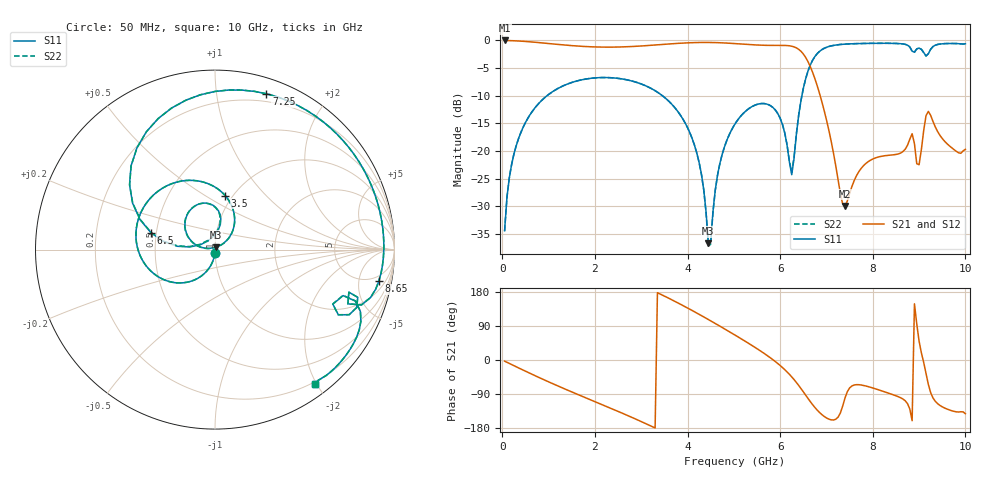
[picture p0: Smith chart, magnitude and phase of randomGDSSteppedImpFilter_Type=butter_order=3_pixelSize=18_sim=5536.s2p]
! freq	dB(S11)	phase(S11)	dB(S12)	phase(S12)
!  dB(S21)	phase(S21)	dB(S22)	phase(S22)
!S-par simulation data
#  GHz  S  DB  R 50
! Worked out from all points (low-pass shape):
!   200 points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, 50 MHz to 10 GHz, reference 50 ohm
!   highest |S21| = -0.01 dB at 50 MHz (marker M1); lowest = -29.9 dB at 7.4 GHz (marker M2)
!   |S21| within 3 dB of the highest: start of sweep to 6.546 GHz
!   lowest |S11| = -36.7 dB at 4.45 GHz (marker M3), VSWR 1.03, Z = 50.4 + j1.4 ohm
!   |S11| at or under -10 dB: start of sweep to 964.7 MHz; 3.459 GHz to 6.469 GHz (3.01 GHz wide, 60.6 % of centre)
!   |S22| runs from -37.2 to -0.5 dB; largest |S21 - S12| = 0
!   S11 on the Smith chart (normalised r, x): 50 MHz: 1.00, -0.04; 3.5 GHz: 0.92, +0.61; 6.5 GHz: 0.47, +0.10; 7.25 GHz: 0.13, +1.38; 8.65 GHz: 3.54, -9.15; 10 GHz: 0.17, -1.98
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0.05  -34.40 -92.9  -0.01 -3.0  -0.01 -3.0  -34.40 -92.9
0.2  -22.45 -102.2  -0.04 -11.9  -0.04 -11.9  -22.45 -102.2
0.5  -14.84 -120.0  -0.19 -29.5  -0.19 -29.5  -14.84 -120.0
1.75  -7.06 172.3  -1.08 -97.2  -1.08 -97.2  -7.06 172.3
3.4  -9.63 85.2  -0.76 174.7  -0.76 174.7  -9.63 85.2
3.5  -10.27 79.4  -0.70 168.7  -0.70 168.7  -10.27 79.4
4.15  -18.93 42.0  -0.39 127.3  -0.39 127.3  -18.94 41.6
4.45  -36.69 71.6  -0.37 106.8  -0.37 106.8  -37.18 69.5
4.7  -22.17 170.3  -0.42 89.2  -0.42 89.2  -22.19 171.3
5.05  -14.77 150.3  -0.58 64.0  -0.58 64.0  -14.77 150.9
5.85  -12.16 92.4  -0.90 0.3  -0.90 0.3  -12.16 93.0
6.25  -24.27 125.4  -1.05 -44.4  -1.05 -44.4  -23.84 125.8
6.5  -8.69 165.3  -2.45 -83.9  -2.45 -83.9  -8.66 165.0
6.7  -3.60 135.0  -5.75 -117.7  -5.75 -117.7  -3.59 134.9
7.25  -0.78 71.7  -25.15 -151.0  -25.15 -151.0  -0.78 71.7
7.4  -0.67 60.1  -29.94 -100.5  -29.94 -100.5  -0.67 60.1
8.35  -0.52 4.9  -20.75 -87.9  -20.75 -87.9  -0.52 4.9
8.65  -0.63 -10.9  -20.09 -102.9  -20.09 -102.9  -0.63 -10.8
8.85  -1.94 -22.2  -16.86 -160.2  -16.86 -160.2  -1.94 -22.2
9  -1.38 -22.3  -22.45 49.6  -22.45 49.6  -1.39 -22.2
9.2  -2.40 -19.8  -12.82 -64.4  -12.82 -64.4  -2.41 -19.7
10  -0.60 -53.2  -19.68 -141.8  -19.68 -141.8  -0.60 -53.2
